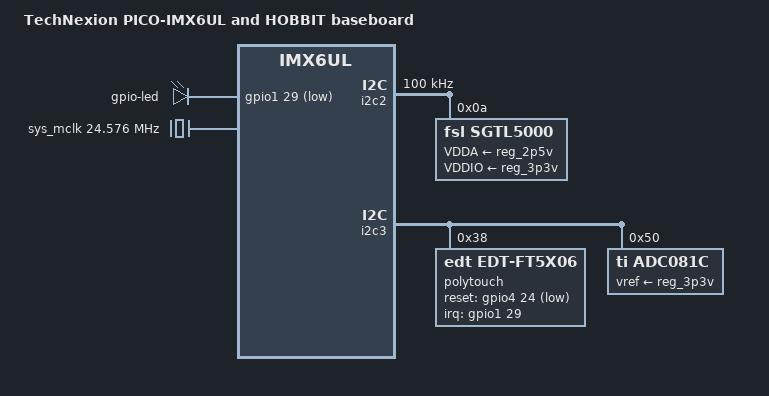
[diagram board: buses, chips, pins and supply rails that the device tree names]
FASTVC-BENCH-CORPUS:linux-main-100k-v1-e0bd41dc-8e12-4f1b-978d-a3645ae59da0
/* bench 3310.1.0 0b7f03c71a90 */
/* bench 3310.1.1 9c075a23cf8f */
// SPDX-License-Identifier: (GPL-2.0 OR MIT)
//
// Copyright 2015 Technexion Ltd.
//
// Author: Wig Cheng  <wig.cheng@technexion.com>
//	   Richard Hu <richard.hu@technexion.com>
//	   Tapani Utriainen <tapani@technexion.com>
/dts-v1/;

#include "imx6ul-pico.dtsi"
/ {
	model = "TechNexion PICO-IMX6UL and HOBBIT baseboard";
	compatible = "technexion,imx6ul-pico-hobbit", "fsl,imx6ul";

	leds {
		compatible = "gpio-leds";
/* bench 13676.0.0 2d50a80dbdaa */
/* bench 13676.0.1 c0889491e25e */
/* bench 13676.0.2 271ac933a773 */
/* bench 13676.0.3 3bacd7f659f7 */
/* bench 13676.0.4 54ab5190d9c0 */
/* bench 13676.0.5 bbe7020589c6 */
/* bench 13676.0.6 ccec7cc0665a */
/* bench 13676.0.7 0295c71e4cf3 */
/* bench 13676.0.8 04b4fbca1265 */
/* bench 13676.0.9 3019fa298a5f */
/* bench 13676.0.10 140969487b93 */
/* bench 13676.0.11 9578a61a2d61 */
/* bench 13676.0.12 bd21dd9e6afc */
/* bench 13676.0.13 3da782e8b4a2 */

		led {
			label = "gpio-led";
			gpios = <&gpio1 29 GPIO_ACTIVE_LOW>;
		};
	};

	sound {
		compatible = "fsl,imx-audio-sgtl5000";
		model = "imx6ul-sgtl5000";
		audio-cpu = <&sai1>;
		audio-codec = <&sgtl5000>;
		audio-routing =
			"LINE_IN", "Line In Jack",
			"MIC_IN", "Mic Jack",
			"Mic Jack", "Mic Bias",
			"Headphone Jack", "HP_OUT";
	};

	sys_mclk: clock-sys-mclk {
		compatible = "fixed-clock";
		#clock-cells = <0>;
		clock-frequency = <24576000>;
	};
};

&i2c2 {
	clock-frequency = <100000>;
	pinctrl-names = "default";
	pinctrl-0 = <&pinctrl_i2c2>;
	status = "okay";

	sgtl5000: codec@a {
		reg = <0x0a>;
		compatible = "fsl,sgtl5000";
		clocks = <&sys_mclk>;
		VDDA-supply = <&reg_2p5v>;
		VDDIO-supply = <&reg_3p3v>;
	};
};

&i2c3 {
	status = "okay";

	polytouch: touchscreen@38 {
		compatible = "edt,edt-ft5x06";
		reg = <0x38>;
		interrupt-parent = <&gpio1>;
		interrupts = <29 IRQ_TYPE_EDGE_FALLING>;
		reset-gpios = <&gpio4 24 GPIO_ACTIVE_LOW>;
		touchscreen-size-x = <800>;
		touchscreen-size-y = <480>;
	};

	adc081c: adc@50 {
		compatible = "ti,adc081c";
		reg = <0x50>;
		vref-supply = <&reg_3p3v>;
	};
};

&iomuxc {
	pinctrl-names = "default";
	pinctrl-0 = <&pinctrl_hog>;

	pinctrl_hog: hoggrp {
		fsl,pins = <
			MX6UL_PAD_CSI_VSYNC__GPIO4_IO19		0x10b0
			MX6UL_PAD_CSI_DATA00__GPIO4_IO21	0x10b0
			MX6UL_PAD_CSI_DATA01__GPIO4_IO22	0x10b0
			MX6UL_PAD_CSI_DATA02__GPIO4_IO23	0x10b0
			MX6UL_PAD_UART1_CTS_B__GPIO1_IO18	0x10b0
			MX6UL_PAD_SNVS_TAMPER2__GPIO5_IO02	0x10b0
		>;
	};

	pinctrl_gpio_leds: gpioledsgrp {
		fsl,pins = <
			MX6UL_PAD_UART4_RX_DATA__GPIO1_IO29	0x10b0
		>;
	};
};
